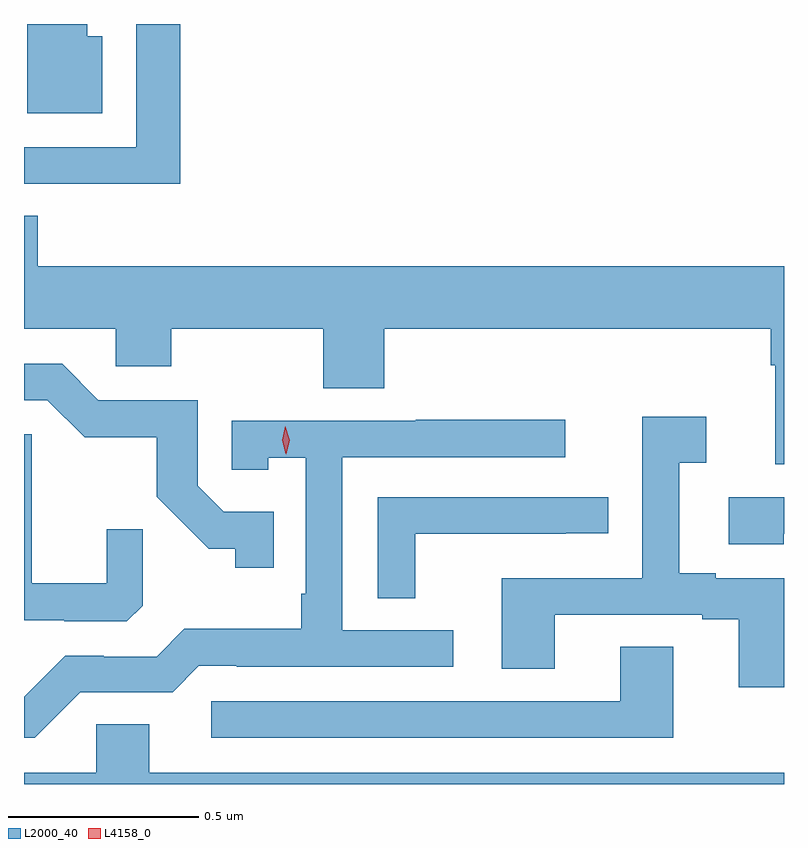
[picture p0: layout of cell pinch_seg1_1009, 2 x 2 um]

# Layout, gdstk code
import gdstk
lib = gdstk.Library(unit=1e-6, precision=1e-09)
def P(c, l, *ps):  # polygons
    for p in ps: c.add(gdstk.Polygon(p, *l))
L2000_40 = (2000, 40)
L4158_0 = (4158, 0)

pinch_seg1_1009 = lib.new_cell('pinch_seg1_1009')
P(pinch_seg1_1009, L2000_40, [(314.471,583.17),(314.355,583.17),(314.355,582.846),(314.06,582.846),(314.06,582.75),(314.179,582.75),(314.179,582.749),(314.471,582.749)],
  [(314.266,583.138),(314.227,583.138),(314.227,583.17),(314.069,583.17),(314.069,582.935),(314.266,582.935)],
  [(316.06,582.532),(314.096,582.532),(314.096,582.665),(314.06,582.665),(314.06,582.368),(314.301,582.368),(314.301,582.27),(314.448,582.27),(314.448,582.368),(314.848,582.368),(314.848,582.211),(315.008,582.211),(315.008,582.368),(316.025,582.368),(316.025,582.272),(316.037,582.272),(316.037,582.012),(316.06,582.012)],
  [(314.717,581.886),(314.586,581.886),(314.517,581.955),(314.517,582.18),(314.256,582.18),(314.16,582.276),(314.06,582.276),(314.06,582.18),(314.121,582.18),(314.22,582.082),(314.409,582.082),(314.409,581.926),(314.546,581.789),(314.616,581.789),(314.616,581.739),(314.717,581.739)],
  [(316.06,581.712),(315.88,581.712),(315.88,581.725),(315.784,581.725),(315.784,582.016),(315.856,582.016),(315.856,582.136),(315.687,582.136),(315.687,581.712),(315.317,581.712),(315.317,581.473),(315.457,581.473),(315.457,581.616),(315.845,581.616),(315.845,581.604),(315.941,581.604),(315.941,581.424),(316.06,581.424)],
  [(314.208,581.412),(314.451,581.412),(314.52,581.481),(314.62,581.481),(314.62,581.478),(315.19,581.478),(315.19,581.574),(314.898,581.574),(314.898,582.03),(315.484,582.03),(315.484,582.129),(315.091,582.129),(315.091,582.126),(314.607,582.126),(314.607,581.997),(314.703,581.997),(314.703,582.029),(314.802,582.029),(314.802,581.671),(314.79,581.671),(314.79,581.578),(314.482,581.578),(314.409,581.505),(314.27,581.505),(314.27,581.508),(314.169,581.508),(314.06,581.399),(314.06,581.292),(314.088,581.292)],
  [(314.372,581.639),(314.372,581.841),(314.278,581.841),(314.278,581.698),(314.081,581.698),(314.081,582.09),(314.06,582.09),(314.06,581.601),(314.166,581.601),(314.166,581.598),(314.331,581.598)],
  [(316.059,581.829),(316.06,581.829),(316.06,581.925),(315.915,581.925),(315.915,581.801),(316.059,581.801)],
  [(315.09,581.829),(315.485,581.829),(315.485,581.83),(315.598,581.83),(315.598,581.925),(314.991,581.925),(314.991,581.659),(315.09,581.659)],
  [(315.769,581.531),(315.629,581.531),(315.629,581.388),(314.553,581.388),(314.553,581.292),(315.769,581.292)],
  [(316.06,581.2),(314.389,581.2),(314.389,581.327),(314.25,581.327),(314.25,581.2),(314.06,581.2),(314.06,581.17),(316.06,581.17)])
P(pinch_seg1_1009, L4158_0, [(314.75,582.038),(314.749,582.039),(314.739,582.074),(314.748,582.111),(314.748,582.111),(314.748,582.111),(314.759,582.075),(314.75,582.039)])

lib.write_gds('pinch_seg1_1009.gds')
